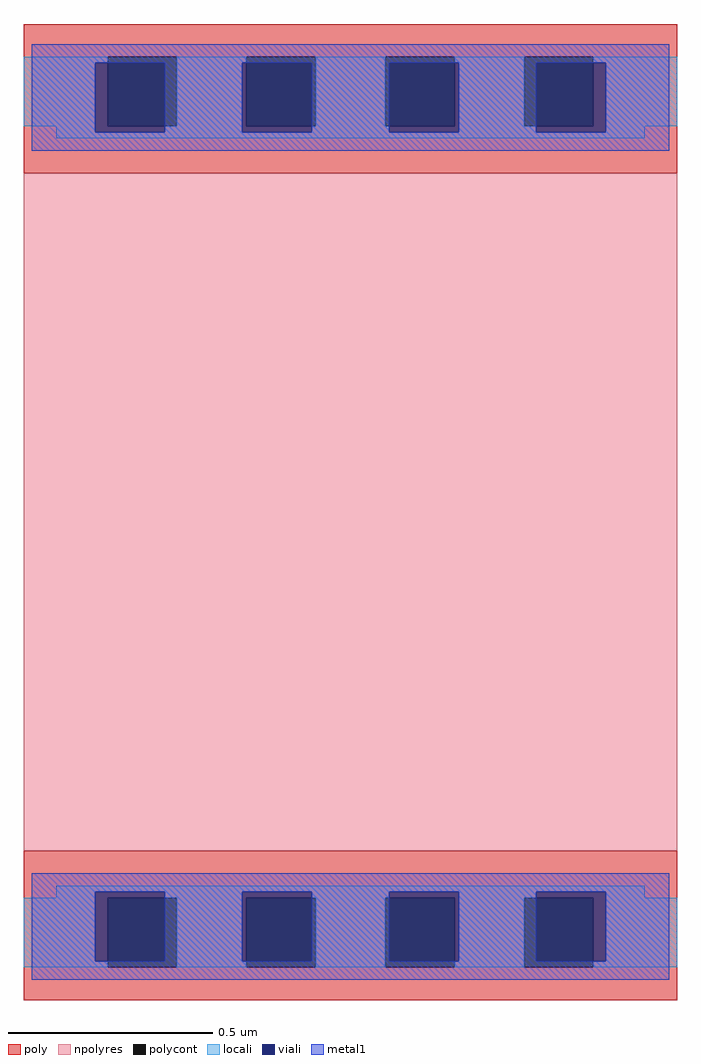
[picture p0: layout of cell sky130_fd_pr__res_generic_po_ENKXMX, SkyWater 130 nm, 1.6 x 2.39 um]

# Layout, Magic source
magic
tech sky130A
magscale 1 2
<< poly >>
rect -160 223 160 239
rect -160 189 -119 223
rect -85 189 -51 223
rect -17 189 17 223
rect 51 189 85 223
rect 119 189 160 223
rect -160 166 160 189
rect -160 -189 160 -166
rect -160 -223 -119 -189
rect -85 -223 -51 -189
rect -17 -223 17 -189
rect 51 -223 85 -189
rect 119 -223 160 -189
rect -160 -239 160 -223
<< polycont >>
rect -119 189 -85 223
rect -51 189 -17 223
rect 17 189 51 223
rect 85 189 119 223
rect -119 -223 -85 -189
rect -51 -223 -17 -189
rect 17 -223 51 -189
rect 85 -223 119 -189
<< npolyres >>
rect -160 -166 160 166
<< locali >>
rect -160 220 -119 223
rect -85 220 -51 223
rect -160 189 -125 220
rect -85 189 -53 220
rect -17 189 17 223
rect 51 220 85 223
rect 119 220 160 223
rect 53 189 85 220
rect 125 189 160 220
rect -144 186 -125 189
rect -91 186 -53 189
rect -19 186 19 189
rect 53 186 91 189
rect 125 186 144 189
rect -144 183 144 186
rect -144 -186 144 -183
rect -144 -189 -125 -186
rect -91 -189 -53 -186
rect -19 -189 19 -186
rect 53 -189 91 -186
rect 125 -189 144 -186
rect -160 -220 -125 -189
rect -85 -220 -53 -189
rect -160 -223 -119 -220
rect -85 -223 -51 -220
rect -17 -223 17 -189
rect 53 -220 85 -189
rect 125 -220 160 -189
rect 51 -223 85 -220
rect 119 -223 160 -220
<< viali >>
rect -125 189 -119 220
rect -119 189 -91 220
rect -53 189 -51 220
rect -51 189 -19 220
rect 19 189 51 220
rect 51 189 53 220
rect 91 189 119 220
rect 119 189 125 220
rect -125 186 -91 189
rect -53 186 -19 189
rect 19 186 53 189
rect 91 186 125 189
rect -125 -189 -91 -186
rect -53 -189 -19 -186
rect 19 -189 53 -186
rect 91 -189 125 -186
rect -125 -220 -119 -189
rect -119 -220 -91 -189
rect -53 -220 -51 -189
rect -51 -220 -19 -189
rect 19 -220 51 -189
rect 51 -220 53 -189
rect 91 -220 119 -189
rect 119 -220 125 -189
<< metal1 >>
rect -156 220 156 229
rect -156 186 -125 220
rect -91 186 -53 220
rect -19 186 19 220
rect 53 186 91 220
rect 125 186 156 220
rect -156 177 156 186
rect -156 -186 156 -177
rect -156 -220 -125 -186
rect -91 -220 -53 -186
rect -19 -220 19 -186
rect 53 -220 91 -186
rect 125 -220 156 -186
rect -156 -229 156 -220
<< end >>
